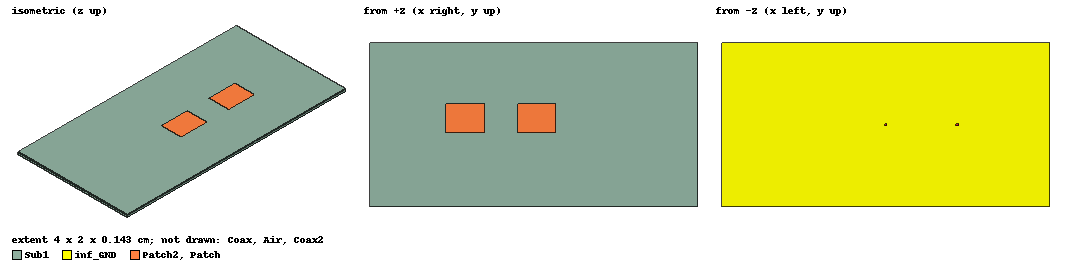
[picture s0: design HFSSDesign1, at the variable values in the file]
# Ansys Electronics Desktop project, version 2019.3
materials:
  vacuum: permittivity=1
  Rogers RT/duroid 5880 (tm): permittivity=2.2 dielectric_loss_tangent=0.0009
  pec: conductivity=1e+30
  Rogers RO4003 (tm): permittivity=3.55 dielectric_loss_tangent=0.0027

design HFSSDesign1 (HFSS, DrivenTerminal, model units cm)
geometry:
  Sub1 [Rogers RO4003 (tm)] = box(corner=(-2.5cm, -1cm, 0cm), size=(4cm, 2cm, 0.43mm))
  inf_GND [Rogers RT/duroid 5880 (tm)] = rectangle(corner=(-2.5cm, -1cm, 0cm), x_size=4cm, y_size=2cm)
  Cut_Out = circle(normal=Z, centre=(-0.5cm, 0cm, 0cm), radius=0.16mm)
  inf_GND.subtract(Cut_Out)
  Patch [Rogers RT/duroid 5880 (tm)] = rectangle(corner=((-0.7*10) mm, (-0.1*10) mm, 0.43mm), x_size=4.73mm, y_size=3.61mm)
  Coax [vacuum] = cylinder(axis=Z, base_centre=(-0.5cm, 0cm, 0cm), radius=0.16mm, height=-0.1cm)
  Coax_Pin [pec] = cylinder(axis=Z, base_centre=(-0.5cm, 0cm, 0cm), radius=0.07mm, height=-0.1cm)
  Port1 [pec] = circle(normal=Z, centre=(-0.5cm, 0cm, -0.1cm), radius=0.16mm)
  Prope [pec] = cylinder(axis=Z, base_centre=(-0.5cm, 0cm, 0cm), radius=0.07mm, height=0.43mm)
  Air [vacuum] = box(corner=(-2.5cm, -1cm, 0cm), size=(4cm, 2cm, 1.32cm))
  Cut_Out2 = circle(normal=Z, centre=((-5-8.7125) mm, 0mm, 0mm), radius=0.16mm)
  inf_GND.subtract(Cut_Out2)
  Patch2 = rectangle(corner=((-0.7*10-8.7125) mm, (-0.1*10) mm, 0.43mm), x_size=4.73mm, y_size=3.61mm)
  Coax2 [vacuum] = cylinder(axis=Z, base_centre=((-5-8.7125) mm, 0mm, 0mm), radius=0.16mm, height=-0.1cm)
  Coax_Pin2 [pec] = cylinder(axis=Z, base_centre=((-5-8.7125) mm, 0mm, 0mm), radius=0.07mm, height=-0.1cm)
  Port2 [pec] = circle(normal=Z, centre=((-5- 8.7125) mm, 0mm, -1mm), radius=0.16mm)
  Prope2 [pec] = cylinder(axis=Z, base_centre=((-5-8.7125) mm, 0mm, 0mm), radius=0.07mm, height=0.43mm)
  group Input_feed1 = Coax, Coax_Pin, Port1, Prope
  group Input_feed1_1 = Coax2, Coax_Pin2, Port2, Prope2
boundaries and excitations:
  PerfE_inf_GND: Perfect E Objects=inf_GND
  PerfE_Patch: Perfect E Objects=Patch
  Rad1: Radiation Faces=Air.face(+x, +y, -y, -x, +z)
  PerfE1: Perfect E Objects=Patch2
  Coax_Pin_T1: Terminal port=1 Faces=Coax_Pin.face(2 of 3) TerminalResistance=50ohm
  Coax_Pin2_T1: Terminal port=2 Faces=Coax_Pin2.face(2 of 3) TerminalResistance=50ohm
  1: Wave Port Faces=Port1.face NumModes=1
  2: Wave Port Faces=Port2.face NumModes=1
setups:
  Setup1: HfssDriven Frequency=20GHz MaxDeltaS=0.02 MaximumPasses=20 MinimumPasses=1 MinimumConvergedPasses=1 PercentRefinement=30 BasisOrder=1 PortAccuracy=2
    sweep Sweep: 17GHz to 23GHz, 201 points; Type=Fast SaveFields
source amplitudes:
  1:1: 1V 0deg
  2:1: 0V 0deg
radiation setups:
  Infinite Sphere1: Infinite Sphere Theta=-180deg..180deg step 2deg Phi=0deg..90deg step 90deg
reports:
  Terminal S Parameter Plot 2:
  Terminal S Parameter Plot 3: dB(St(Coax_Pin_T1,Coax_Pin_T1)) vs Freq on Setup1 : Sweep; markers MX1 at x=2.0194978e+10
  Terminal S Parameter Plot 4: dB(St(Coax_Pin2_T1,Coax_Pin_T1)) vs Freq on Setup1 : Sweep; markers MX1 at x=2.0004431e+10
  Terminal S Parameter Plot 5: dB(St(Coax_Pin_T1,Coax_Pin2_T1)) vs Freq on Setup1 : Sweep
  Terminal S Parameter Plot 6: dB(St(Coax_Pin2_T1,Coax_Pin2_T1)) vs Freq on Setup1 : Sweep; markers MX1 at x=2.0190547e+10
  Terminal Z Parameter Plot 1: dB20(Zt(Coax_Pin_T1,Coax_Pin_T1)) vs Freq on Setup1 : Sweep
  Terminal Z Parameter Plot 2: dB20(Zt(Coax_Pin2_T1,Coax_Pin_T1)) vs Freq on Setup1 : Sweep
  Terminal Z Parameter Plot 3: dB20(Zt(Coax_Pin_T1,Coax_Pin2_T1)) vs Freq on Setup1 : Sweep; markers MX1 at x=2.0008863e+10
  Terminal Z Parameter Plot 4: dB20(Zt(Coax_Pin2_T1,Coax_Pin2_T1)) vs Freq on Setup1 : Sweep; markers MX1 at x=2.0002201e+10
